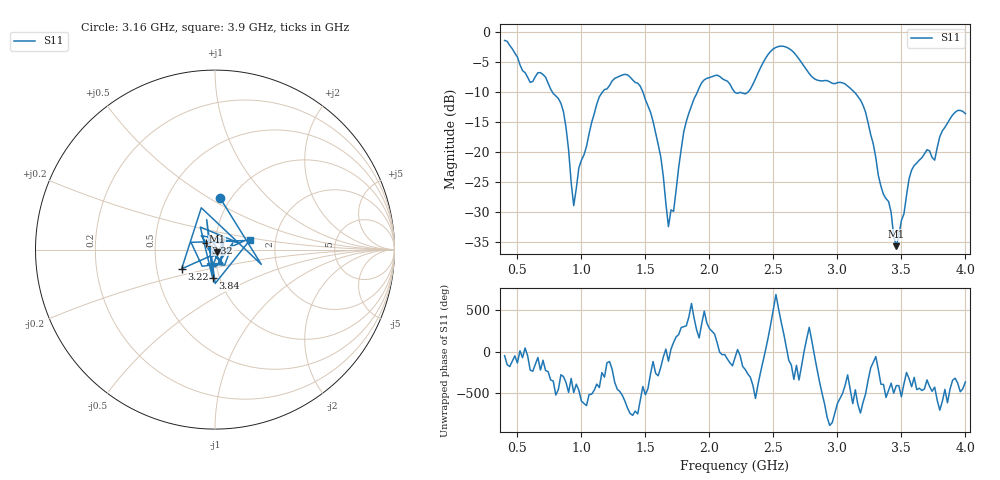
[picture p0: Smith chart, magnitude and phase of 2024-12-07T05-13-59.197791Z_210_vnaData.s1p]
!Created with skrf (http://scikit-rf.org).
# Hz S RI R 50.0
!freq ReS11 ImS11
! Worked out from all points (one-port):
!   181 points, 400 MHz to 4 GHz, reference 50 ohm
!   lowest |S11| = -35.7 dB at 3.46 GHz (marker M1), VSWR 1.03, Z = 51.1 - j1.26 ohm
!   |S11| at or under -10 dB: 772.6 MHz to 1.166 GHz (393.5 MHz wide, 40.6 % of centre); 1.48 GHz to 1.906 GHz (426.1 MHz wide, 25.2 % of centre); 3.131 GHz to end of sweep (the widest 3 of 4)
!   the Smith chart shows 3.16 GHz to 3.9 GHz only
!   S11 on the Smith chart (normalised r, x): 3.16 GHz: 0.89, +0.56; 3.22 GHz: 0.67, -0.15; 3.32 GHz: 0.90, +0.07; 3.84 GHz: 0.93, -0.30; 3.9 GHz: 1.48, +0.17
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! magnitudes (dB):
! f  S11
! 400 MHz  -1.4
! 860 MHz  -13.3
! 940 MHz  -28.9
! 980 MHz  -22.7
! 1.14 GHz  -10.8
! 1.3 GHz  -7.4
! 1.54 GHz  -13.4
! 1.62 GHz  -20.8
! 1.68 GHz  -32.4
! 1.76 GHz  -22.6
! 1.82 GHz  -14.9
! 1.94 GHz  -8.5
! 2.2 GHz  -10.1
! 2.3 GHz  -10.1
! 2.5 GHz  -2.8
! 2.66 GHz  -3.5
! 3.1 GHz  -9.4
! 3.16 GHz  -10.8
! 3.22 GHz  -13.4
! 3.32 GHz  -23.9
! 3.4 GHz  -28.2
! 3.46 GHz  -35.7
! 3.56 GHz  -24.5
! 3.7 GHz  -19.6
! 3.76 GHz  -21.4
! 3.84 GHz  -15.9
! 3.9 GHz  -13.8
! 4 GHz  -13.6
